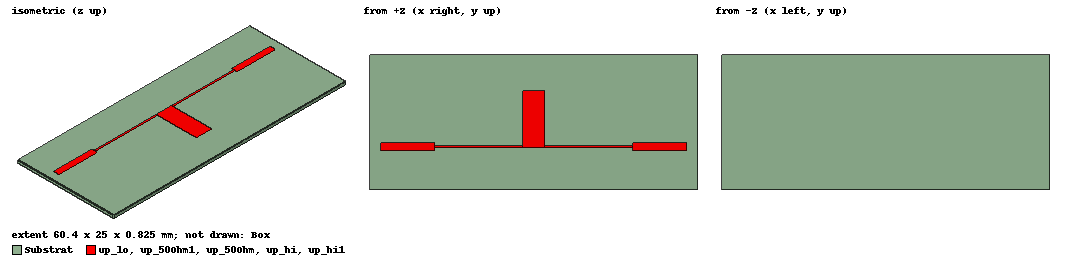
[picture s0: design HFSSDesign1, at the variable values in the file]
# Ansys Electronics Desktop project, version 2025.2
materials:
  vacuum: permittivity=1
  FR4_epoxy: permittivity=4.4 dielectric_loss_tangent=0.02
  copper: permeability=0.999991 conductivity=58000000

design HFSSDesign1 (HFSS, HFSS Terminal Network, model units mm)
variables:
  ls = 30mm
  ws = 25mm
  hs = 0.79mm
  wa = -8mm
  hbox = 8mm
  l50 = 10mm
  w50 = 1.45mm
  hm = 0.035mm
  llo = 4mm
  whi = 0.4mm
  lhi = 16.2mm
  wlo = 10.5mm
  mezera = 2mm
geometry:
  Substrat [FR4_epoxy] = box(corner=(-(2*l50+2*lhi+llo+2*mezera)/2, wa, 0mm), size=(2*l50+2*lhi+llo+2*mezera, ws, hs))
  Box [vacuum] = box(corner=(-(2*l50+2*lhi+llo+2*mezera)/2, wa, hs), size=(2*l50+2*lhi+llo+2*mezera, ws, hbox))
  up_50Ohm [copper] = box(corner=(-l50-llo/2-lhi, -w50/2, hs), size=(l50, w50, hm))
  up_50Ohm1 [copper] = box(corner=(l50+llo/2+lhi, -w50/2, hs), size=(-l50, w50, hm))
  Rectangle1 = rectangle(corner=(-l50-llo/2-lhi, -w50/2, 0), y_size=w50, z_size=hs)
  Rectangle2 = rectangle(corner=(l50+llo/2+lhi, -w50/2, 0mm), y_size=w50, z_size=hs)
  up_hi [copper] = box(corner=(-llo/2, -whi/2, hs), size=(-lhi, whi, hm))
  up_hi1 [copper] = box(corner=(llo/2, -whi/2, hs), size=(lhi, whi, hm))
  up_lo [copper] = box(corner=(-llo/2, -whi/2, hs), size=(llo, wlo, hm))
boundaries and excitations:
  Rad1: Radiation Faces=Box.face(+z)
  1: Lumped Port Objects=Rectangle1 LumpedPortType=Modal Modes{Mode1{IntLine{(-28.2, 0, 0) -> (-28.2, 0, 0.79)} CharImp=Zpi}} Impedance=50ohm
  2: Lumped Port Objects=Rectangle2 LumpedPortType=Modal Modes{Mode1{IntLine{(28.2, 0, 0) -> (28.2, 0, 0.79)} CharImp=Zpi}} Impedance=50ohm
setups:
  Setup1: HfssDrivenAuto AutoSolverSetting=Balanced Type=Interpolating
    sweep Sweep: 0.1GHz to 10GHz, 100 points;
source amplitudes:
  1:1: 1V 0deg
  2:1: 0V 0deg
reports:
  Terminal S Parameter Plot1: dB(St(1,1)), dB(St(2,1)) vs Freq on Setup1 : Sweep; dB(S(Port1,Port1)), dB(S(Port2,Port1)), dB(S(Port3,Port3)), dB(S(Port4,Port3)), dB(S(Port5,Port5)), dB(S(Port6,Port5)), dB(S(Port7,Port7)), dB(S(Port8,Port7)) vs Freq
